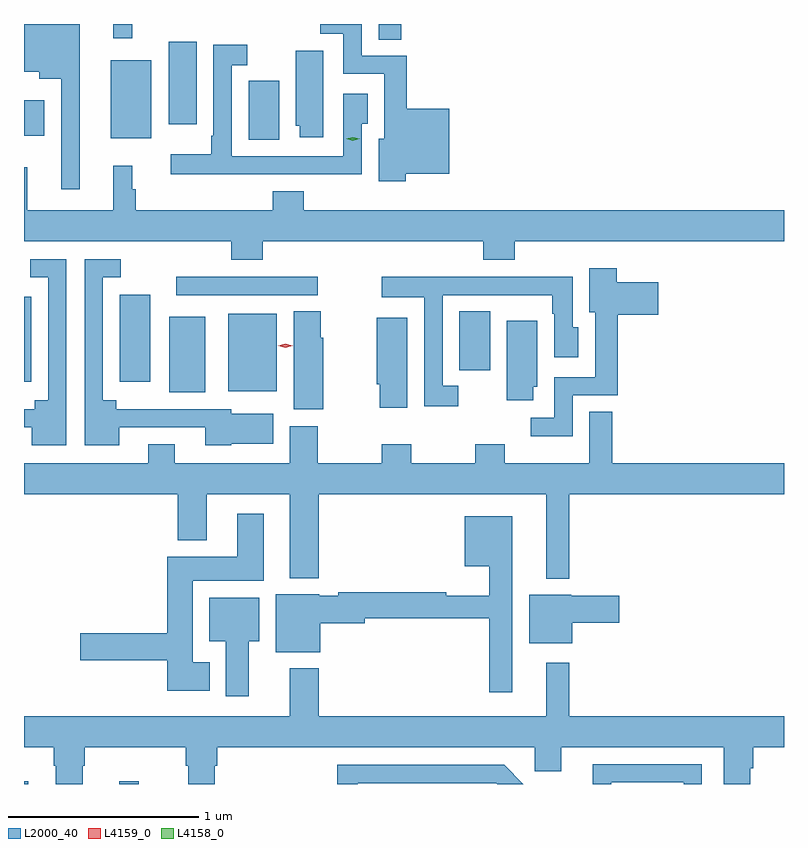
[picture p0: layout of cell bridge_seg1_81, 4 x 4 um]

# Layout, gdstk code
import gdstk
lib = gdstk.Library(unit=1e-6, precision=1e-09)
def R(c, l, rs):  # rectangles x0, y0, x1, y1
    for r in rs: c.add(gdstk.rectangle(r[:2], r[2:], *l))
def P(c, l, *ps):  # polygons
    for p in ps: c.add(gdstk.Polygon(p, *l))
L2000_40 = (2000, 40)
L4158_0 = (4158, 0)
L4159_0 = (4159, 0)

bridge_seg1_81 = lib.new_cell('bridge_seg1_81')
R(bridge_seg1_81, L2000_40, [(507.365,518.239,507.388,518.254), (507.866,518.239,507.968,518.254), (508.13,520.301,508.318,520.699), (508.439,520.307,508.696,520.714), (507.365,520.356,507.403,520.804), (507.869,520.356,508.03,520.813), (509.657,520.416,509.818,520.727), (508.167,520.812,508.912,520.908), (508.547,521.629,508.708,521.94), (507.821,521.639,508.036,522.049), (507.365,521.651,507.472,521.839), (508.127,521.712,508.273,522.145), (509.231,522.157,509.35,522.239), (507.835,522.165,507.935,522.239)])
P(bridge_seg1_81, L2000_40, [(507.658,522.239),(507.365,522.239),(507.365,521.987),(507.446,521.987),(507.446,521.951),(507.561,521.951),(507.561,521.37),(507.658,521.37)],
  [(509.375,521.45),(509.602,521.45),(509.602,521.794),(509.38,521.794),(509.38,522.072),(509.142,522.072),(509.142,522.239),(508.923,522.239),(508.923,522.189),(509.046,522.189),(509.046,521.976),(509.261,521.976),(509.261,521.635),(509.231,521.635),(509.231,521.411),(509.375,521.411)],
  [(508.555,521.448),(508.921,521.448),(508.921,521.447),(509.142,521.447),(509.142,521.713),(509.173,521.713),(509.173,521.871),(509.046,521.871),(509.046,521.544),(508.458,521.544),(508.458,522.021),(508.54,522.021),(508.54,522.13),(508.362,522.13),(508.362,521.65),(508.35,521.65),(508.35,521.554),(508.137,521.554),(508.137,521.447),(508.555,521.447)],
  [(508.939,522.097),(508.796,522.097),(508.796,521.703),(508.817,521.703),(508.817,521.643),(508.939,521.643)],
  [(508.622,521.096),(509.783,521.096),(509.783,520.997),(509.948,520.997),(509.948,521.096),(511.365,521.096),(511.365,521.26),(508.838,521.26),(508.838,521.359),(508.673,521.359),(508.673,521.26),(507.953,521.26),(507.953,521.369),(507.935,521.369),(507.935,521.494),(507.836,521.494),(507.836,521.26),(507.383,521.26),(507.383,521.485),(507.365,521.485),(507.365,521.096),(508.457,521.096),(508.457,520.997),(508.622,520.997)],
  [(507.588,521.001),(507.399,521.001),(507.399,520.905),(507.492,520.905),(507.492,520.258),(507.422,520.258),(507.422,520.212),(507.365,520.212),(507.365,520.116),(507.407,520.116),(507.407,520.022),(507.588,520.022)],
  [(507.865,520.116),(508.319,520.116),(508.319,520.022),(508.455,520.022),(508.455,520.031),(508.678,520.031),(508.678,520.189),(508.455,520.189),(508.455,520.212),(507.85,520.212),(507.85,520.258),(507.78,520.258),(507.78,520.905),(507.874,520.905),(507.874,521.001),(507.684,521.001),(507.684,520.022),(507.865,520.022)],
  [(510.252,520.284),(510.49,520.284),(510.49,520.709),(510.703,520.709),(510.703,520.879),(510.485,520.879),(510.485,520.954),(510.341,520.954),(510.341,520.721),(510.371,520.721),(510.371,520.38),(510.156,520.38),(510.156,520.167),(510.033,520.167),(510.033,520.07),(510.252,520.07)],
  [(509.65,520.335),(509.568,520.335),(509.568,520.812),(509.914,520.812),(509.914,520.811),(510.144,520.811),(510.144,520.715),(510.156,520.715),(510.156,520.485),(510.283,520.485),(510.283,520.644),(510.252,520.644),(510.252,520.91),(510.031,520.91),(510.031,520.908),(509.665,520.908),(509.665,520.91),(509.247,520.91),(509.247,520.802),(509.472,520.802),(509.472,520.227),(509.65,520.227)],
  [(508.939,520.587),(508.926,520.587),(508.926,520.727),(508.784,520.727),(508.784,520.211),(508.939,520.211)],
  [(509.383,520.693),(509.222,520.693),(509.222,520.344),(509.237,520.344),(509.237,520.218),(509.383,520.218)],
  [(510.046,520.329),(510.067,520.329),(510.067,520.678),(509.906,520.678),(509.906,520.26),(510.046,520.26)],
  [(510.235,519.764),(511.365,519.764),(511.365,519.928),(510.46,519.928),(510.46,520.199),(510.341,520.199),(510.341,519.928),(509.895,519.928),(509.895,520.027),(509.74,520.027),(509.74,519.928),(509.403,519.928),(509.403,520.027),(509.248,520.027),(509.248,519.928),(508.911,519.928),(508.911,520.123),(508.763,520.123),(508.763,519.928),(508.159,519.928),(508.159,520.027),(508.019,520.027),(508.019,519.928),(507.365,519.928),(507.365,519.764),(508.175,519.764),(508.175,519.521),(508.327,519.521),(508.327,519.764),(508.763,519.764),(508.763,519.323),(508.916,519.323),(508.916,519.764),(510.113,519.764),(510.113,519.32),(510.235,519.32)],
  [(508.342,518.881),(508.252,518.881),(508.252,519.308),(508.627,519.308),(508.627,519.661),(508.487,519.661),(508.487,519.436),(508.118,519.436),(508.118,519.032),(507.66,519.032),(507.66,518.89),(508.118,518.89),(508.118,518.729),(508.342,518.729)],
  [(509.935,519.649),(509.684,519.649),(509.684,519.386),(509.814,519.386),(509.814,519.229),(509.588,519.229),(509.588,519.248),(509.02,519.248),(509.02,519.229),(508.92,519.229),(508.92,519.238),(508.691,519.238),(508.691,518.933),(508.924,518.933),(508.924,519.086),(509.158,519.086),(509.158,519.112),(509.814,519.112),(509.814,518.721),(509.935,518.721)],
  [(510.25,519.088),(510.499,519.088),(510.499,519.23),(510.246,519.23),(510.246,519.235),(510.023,519.235),(510.023,518.981),(510.25,518.981)],
  [(508.549,518.99),(508.603,518.99),(508.603,519.22),(508.34,519.22),(508.34,518.99),(508.427,518.99),(508.427,518.7),(508.549,518.7)],
  [(507.673,518.336),(507.686,518.336),(507.686,518.432),(508.217,518.432),(508.217,518.336),(508.229,518.336),(508.229,518.239),(508.369,518.239),(508.369,518.336),(508.382,518.336),(508.382,518.432),(510.054,518.432),(510.054,518.305),(510.193,518.305),(510.193,518.432),(511.049,518.432),(511.049,518.239),(511.188,518.239),(511.188,518.323),(511.202,518.323),(511.202,518.432),(511.365,518.432),(511.365,518.596),(510.235,518.596),(510.235,518.878),(510.113,518.878),(510.113,518.596),(508.916,518.596),(508.916,518.848),(508.763,518.848),(508.763,518.596),(507.365,518.596),(507.365,518.432),(507.521,518.432),(507.521,518.336),(507.533,518.336),(507.533,518.239),(507.673,518.239)],
  [(510.456,518.247),(510.837,518.247),(510.837,518.239),(510.933,518.239),(510.933,518.343),(510.359,518.343),(510.359,518.239),(510.456,518.239)],
  [(509.121,518.244),(509.85,518.244),(509.855,518.239),(509.993,518.239),(509.892,518.34),(509.013,518.34),(509.013,518.239),(509.121,518.239)])
P(bridge_seg1_81, L4158_0, [(509.096,521.624),(509.061,521.634),(509.061,521.634),(509.061,521.634),(509.096,521.644),(509.131,521.634),(509.132,521.634),(509.131,521.634)])
P(bridge_seg1_81, L4159_0, [(508.741,520.535),(508.703,520.545),(508.703,520.545),(508.703,520.546),(508.741,520.555),(508.779,520.546),(508.779,520.545),(508.779,520.545)])

lib.write_gds('bridge_seg1_81.gds')
